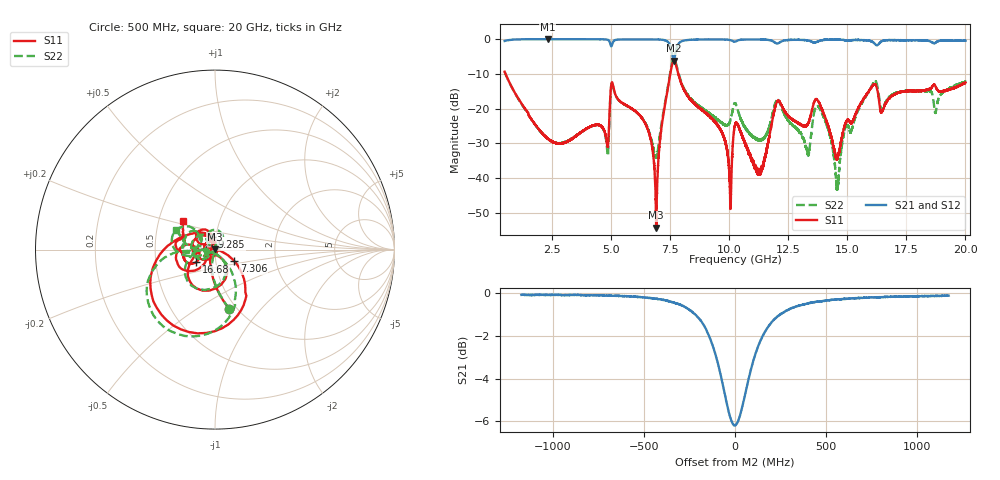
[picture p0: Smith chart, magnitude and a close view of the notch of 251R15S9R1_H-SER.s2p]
!{251R15S9R1}
!Johanson Technology Inc.
!www.johansontechnology.com
!Test Board Conditions:
!Substrate Type  RO4350B
!Substrate Thickness  20 mil
!Substrate Dk  3.66
!TL Type: GCPW
!TL Trace Width  34 mil
!TL Gap  10 mil
!Electrode orientation  Horizontal
!DUT TOPOLOGY	SERIES
!Mounting Pad LxW  26x52 mil
! Created Thu Mar 12 16:45:26 2020
# mhz S ma R 50
! 2 Port Network Data from SP1.SP block
! freq  magS11  angS11  magS21  angS21  magS12  angS12  magS22  angS22
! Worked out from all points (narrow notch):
!   19501 points, 500 MHz to 20 GHz, reference 50 ohm
!   highest |S21| = -0.01 dB at 2.325 GHz (marker M1); lowest = -6.2 dB at 7.657 GHz (marker M2)
!   notch at M2: 6.0 dB deep, 195 MHz wide at half that depth
!   lowest |S11| = -54.2 dB at 6.912 GHz (marker M3), VSWR 1.00, Z = 50 + j0.192 ohm
!   |S11| at or under -10 dB: 538.4 MHz to 7.511 GHz (6.972 GHz wide, 173 % of centre); 7.85 GHz to end of sweep
!   |S22| runs from -43.3 to -5.7 dB; largest |S21 - S12| = 0.019
!   S11 on the Smith chart (normalised r, x): 500 MHz: 0.93, -0.69; 7.306 GHz: 1.23, -0.16; 9.285 GHz: 0.96, +0.13; 16.68 GHz: 0.80, -0.11; 20 GHz: 0.67, +0.22
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500  0.3399 -76.3  0.9377 13.5  0.9386 13.5  0.3389 -76.3
2325  0.03721 -135.2  0.9989 -29.8  0.9969 -29.8  0.03702 -104.3
3750  0.046 -142.8  0.9952 -53.0  0.9957 -52.9  0.04613 -140.0
4828  0.03202 -127.1  0.9827 -72.8  0.983 -72.7  0.02839 -143.8
5085  0.2162 -133.3  0.9032 -66.7  0.9033 -66.7  0.2155 -141.0
6500  0.05629 176.4  0.9903 -95.6  0.9901 -95.5  0.05752 -179.0
6912  0.001947 100.0  0.9889 -103.7  0.989 -103.8  0.01985 -113.0
7000  0.01643 -9.2  0.9857 -105.7  0.9861 -105.8  0.02781 -75.1
7306  0.1239 -30.6  0.9546 -115.3  0.9549 -115.3  0.1304 -51.7
7657  0.4833 -110.7  0.4901 -110.2  0.4916 -110.2  0.5165 -116.9
9285  0.07153 104.0  0.9879 -132.5  0.9882 -132.4  0.08012 -176.8
10033  0.007536 42.1  0.9711 -146.4  0.9704 -146.5  0.06463 -149.5
10250  0.05793 -179.9  0.9183 -147.3  0.9181 -147.3  0.119 -168.6
11267  0.01263 -6.4  0.9854 -164.3  0.9857 -164.3  0.03568 -159.0
12045  0.1269 177.0  0.864 -174.9  0.8638 -175.1  0.1346 170.3
13500  0.09298 158.1  0.9172 160.8  0.9159 160.9  0.05126 136.8
13875  0.1084 109.5  0.955 160.5  0.9521 160.3  0.09402 65.3
14580  0.01928 171.2  0.9838 146.4  0.9808 146.5  0.008171 -61.6
16088  0.2169 -151.6  0.9014 117.5  0.9001 117.8  0.23 177.7
16681  0.1266 -146.4  0.9644 115.3  0.9543 115.4  0.1329 -174.9
16750  0.1387 -146.8  0.9682 114.1  0.9638 113.8  0.1436 -173.5
20000  0.2367 138.5  0.9446 56.6  0.9431 56.7  0.2452 153.2
